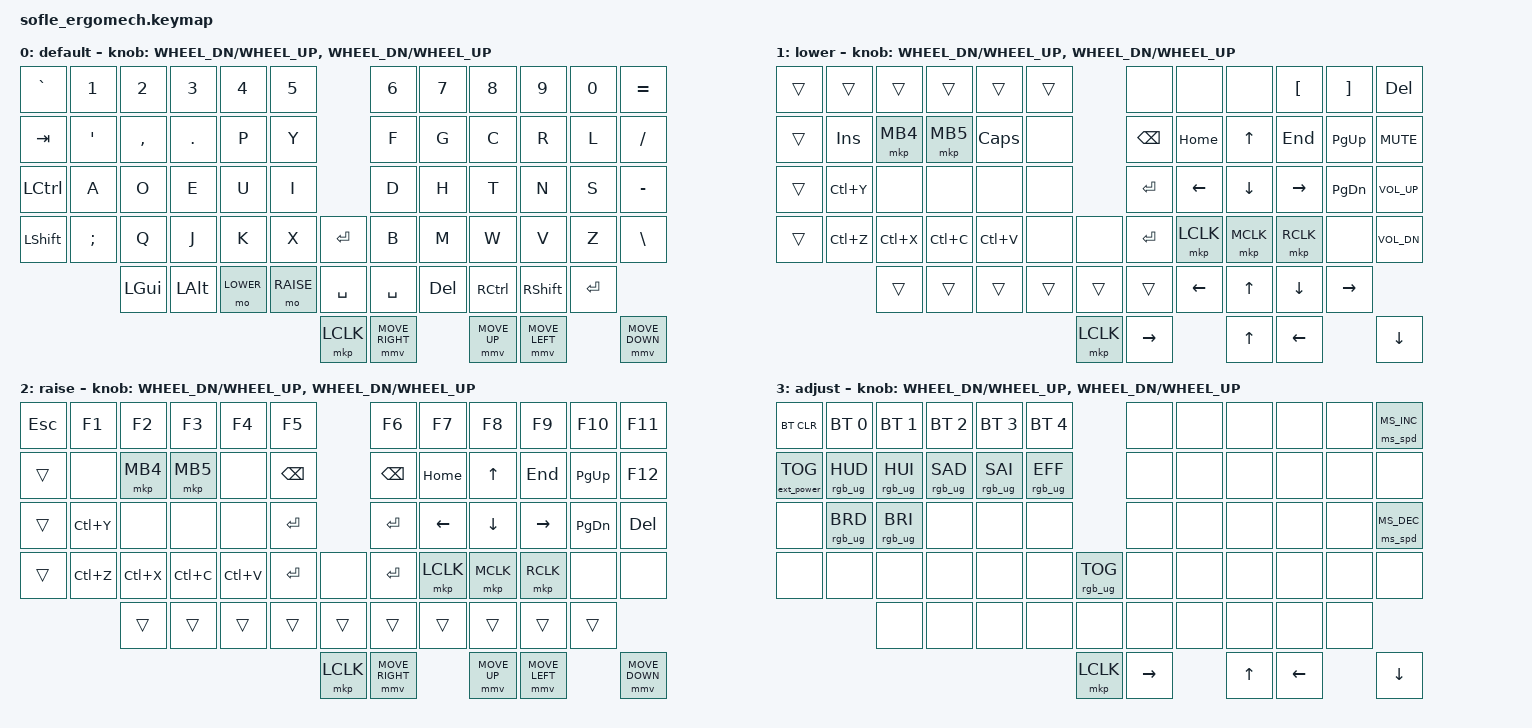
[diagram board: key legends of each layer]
/*
 * Copyright (c) 2020 The ZMK Contributors
 *
 * SPDX-License-Identifier: MIT
 */

#include <behaviors.dtsi>
#include <dt-bindings/zmk/keys.h>
#include <dt-bindings/zmk/bt.h>
#include <dt-bindings/zmk/rgb.h>
#include <dt-bindings/zmk/ext_power.h>
/* Twice the previous 900 ceiling. &mmv ramps up to this speed.
 * Adjust-layer speed keys scale the counts that actually go out. */
#define ZMK_POINTING_DEFAULT_MOVE_VAL 1800

#include <dt-bindings/zmk/pointing.h>

#define BASE 0
#define LOWER 1
#define RAISE 2
#define ADJUST 3

/* &msc ticks every 16ms. 80 * 16 / 1000 truncates to one wheel notch,
 * and the 20ms encoder tap ends before the next tick. */
#define WHEEL_UP MOVE_Y(80)
#define WHEEL_DN MOVE_Y(-80)

/* One step down or up the cursor-speed ladder. */
#define MS_DEC 0
#define MS_INC 1

/* Hold the hat to accelerate. Speed reaches 1800 after 600ms,
 * so the slope matches the previous 900-over-300ms ramp. */
&mmv {
    time-to-max-speed-ms = <600>;
    acceleration-exponent = <1>;
};

&mmv_input_listener {
    input-processors = <&ms_scale>;
};

/ {
    behaviors {
        scroll_wheel: scroll_wheel {
            compatible = "zmk,behavior-sensor-rotate-var";
            #sensor-binding-cells = <2>;
            bindings = <&msc>, <&msc>;
            tap-ms = <20>;
        };

        ms_spd: ms_spd {
            compatible = "zmk,behavior-mouse-speed";
            #binding-cells = <1>;
        };
    };

    ms_scale: ms_scale {
        compatible = "zmk,input-processor-mouse-speed";
        #input-processor-cells = <0>;
        track-remainders;
    };

   // Activate ADJUST layer by pressing raise and lower
    conditional_layers {
        compatible = "zmk,conditional-layers";
        adjust_layer {
            if-layers = <LOWER RAISE>;
            then-layer = <ADJUST>;
        };
    };

    keymap {
        compatible = "zmk,keymap";

        default_layer {
            label = "default";
// ---------------------------------------------------------------------------------------------------------------------------------------
// |   `   |   1   |    2    |   3    |   4     |   5      |                     |   6     |    7    |   8     |  9     |   0    |   =   |
// |  TAB  |   '   |    ,    |   .    |   P     |   Y      |                     |   F     |    G    |   C     |  R     |   L    |   /   |
// |  CTRL |   A   |    O    |   E    |   U     |   I      |                     |   D     |    H    |   T     |  N     |   S    |   -   |
// | SHIFT |   ;   |    Q    |   J    |   K     |   X      |  ENTER  |  |        |   B     |    M    |   W     |  V     |   Z    |   \   |
//                 |   GUI   |  ALT   |  LOWER  |  RAISE   |  SPACE  |  |  SPACE |  DEL    |  CTRL   |  SHIFT  | ENTER  |
//                                                                  HAT:|  LCLK  | MOVE_R  | MOVE_U  | MOVE_L  | MOVE_D |
            bindings = <
&kp GRAVE &kp N1   &kp N2    &kp N3   &kp N4    &kp N5                           &kp N6    &kp N7    &kp N8    &kp N9   &kp N0   &kp EQUAL
&kp TAB   &kp APOS &kp COMMA &kp DOT  &kp P     &kp Y                            &kp F     &kp G     &kp C     &kp R    &kp L    &kp FSLH
&kp LCTRL &kp A    &kp O     &kp E    &kp U     &kp I                            &kp D     &kp H     &kp T     &kp N    &kp S    &kp MINUS
&kp LSHFT &kp SEMI &kp Q     &kp J    &kp K     &kp X      &kp ENTER             &kp B     &kp M     &kp W     &kp V    &kp Z    &kp BSLH
                   &kp LGUI  &kp LALT &mo LOWER &mo RAISE  &kp SPACE  &kp SPACE  &kp DEL   &kp RCTRL &kp RSHFT &kp ENTER
                                                                      &mkp LCLK  &mmv MOVE_RIGHT &mmv MOVE_UP &mmv MOVE_LEFT &mmv MOVE_DOWN
            >;

            sensor-bindings = <&scroll_wheel WHEEL_DN WHEEL_UP &scroll_wheel WHEEL_DN WHEEL_UP>;
        };

        lower_layer {
            label = "lower";
// ------------------------------------------------------------------------------------------------------------------------------------------------------
// |       |             |            |             |              |            |                 |         |         |         |  LBKT   |  RBKT   |  DEL   |
// |       |   INS       |   BACK     |   FWD       |   CAPS       |            |                 |  BSPC   |  HOME   |  UP     |   END   |  PG_UP  | C_MUTE |
// |       |   REDO      |            |             |              |            |                 |  RET    |  LEFT   |  DOWN   |  RIGHT  |  PG_DN  |C_VOL_UP|
// |       |   UNDO      |   CUT      |   COPY      |   PASTE      |            |      |  |       |  ENTER  |  LCLK   |  MCLK   |  RCLK   |         |C_VOL_DN|
//                       |            |             |              |            | SPACE|  | SPACE |  LEFT   |   UP    |  DOWN   |  RIGHT |
//                                                                                    HAT:| LCLK  | RIGHT  |   UP   |  LEFT  |  DOWN  |
            bindings = <
&trans     &trans        &trans       &trans        &trans         &trans                         &none     &none     &none     &kp LBKT  &kp RBKT  &kp DEL
&trans     &kp INS       &mkp MB4     &mkp MB5      &kp CAPS       &none                          &kp BSPC  &kp HOME  &kp UP    &kp END   &kp PG_UP &kp C_MUTE
&trans     &kp LC(Y)     &none        &none         &none          &none                          &kp RET   &kp LEFT  &kp DOWN  &kp RIGHT &kp PG_DN &kp C_VOL_UP
&trans     &kp LC(Z)     &kp LC(X)    &kp LC(C)     &kp LC(V)      &none        &none             &kp ENTER &mkp LCLK &mkp MCLK &mkp RCLK &none     &kp C_VOL_DN
                         &trans       &trans        &trans         &trans       &trans  &trans    &kp LEFT  &kp UP    &kp DOWN  &kp RIGHT
                                                                                        &mkp LCLK &kp RIGHT &kp UP &kp LEFT &kp DOWN
            >;

            sensor-bindings = <&scroll_wheel WHEEL_DN WHEEL_UP &scroll_wheel WHEEL_DN WHEEL_UP>;
        };

        raise_layer {
            label = "raise";
// TODO: Some binds are waiting for shifted keycode support.
// --------------------------------------------------------------------------------------------------------------------------------------------
// |  ESC  |   F1    |   F2    |    F3    |   F4      |   F5     |                  |   F6    |  F7     |  F8     |   F9    |   F10   |  F11  |
// |       |         |  BACK   |   FWD    |           |  BSPC    |                  |  BSPC   |  HOME   |  UP     |   END   |  PG_UP  |  F12  |
// |       |  REDO   |         |          |           |  RET     |                  |  RET    |  LEFT   |  DOWN   |  RIGHT  |  PG_DN  |  DEL  |
// |       |  UNDO   |   CUT   |   COPY   |   PASTE   |  ENTER   |       |  |       |  ENTER  |  LCLK   |  MCLK   |  RCLK   |         |       |
//                   |         |          |           |          | SPACE |  | SPACE |         |         |         |         |
//                                                                      HAT:| LCLK  | MOVE_R  | MOVE_U  | MOVE_L  | MOVE_D |
            bindings = < 
&kp ESC   &kp F1     &kp F2    &kp F3     &kp F4      &kp F5                        &kp F6    &kp F7    &kp F8    &kp F9    &kp F10   &kp F11
&trans    &none      &mkp MB4  &mkp MB5   &none       &kp BSPC                      &kp BSPC  &kp HOME  &kp UP    &kp END   &kp PG_UP &kp F12
&trans    &kp LC(Y)  &none     &none      &none       &kp RET                       &kp RET   &kp LEFT  &kp DOWN  &kp RIGHT &kp PG_DN &kp DEL
&trans    &kp LC(Z)  &kp LC(X) &kp LC(C)  &kp LC(V)   &kp ENTER  &none              &kp ENTER &mkp LCLK &mkp MCLK &mkp RCLK &none     &none
                     &trans    &trans     &trans      &trans     &trans   &trans    &trans    &trans    &trans    &trans
                                                                          &mkp LCLK &mmv MOVE_RIGHT &mmv MOVE_UP &mmv MOVE_LEFT &mmv MOVE_DOWN
            >;

            sensor-bindings = <&scroll_wheel WHEEL_DN WHEEL_UP &scroll_wheel WHEEL_DN WHEEL_UP>;
        };

        adjust_layer {
            label = "adjust";
// --------------------------------------------------------------------------------------------------------------------------------
// | BTCLR  |  BT1    |  BT2    |   BT3   |   BT4   |   BT5   |                      |      |      |       |      |       |  SPD+ |
// | EXTPWR | RGB_HUD | RGB_HUI | RGB_SAD | RGB_SAI | RGB_EFF |                      |      |      |       |      |       |       |
// |        | RGB_BRD | RGB_BRI |         |         |         |                      |      |      |       |      |       |  SPD- |
// |        |         |         |         |         |         | RGB_TOG | |          |      |      |       |      |       |       |
//                    |         |         |         |         |         | |          |      |      |       |      |
//                                                                    HAT:| LCLK     | DOWN |  UP  | RIGHT | LEFT |
            bindings = <
&bt BT_CLR        &bt BT_SEL 0    &bt BT_SEL 1    &bt BT_SEL 2    &bt BT_SEL 3    &bt BT_SEL 4                                &none     &none     &none     &none     &none &ms_spd MS_INC
&ext_power EP_TOG &rgb_ug RGB_HUD &rgb_ug RGB_HUI &rgb_ug RGB_SAD &rgb_ug RGB_SAI &rgb_ug RGB_EFF                             &none     &none     &none     &none     &none &none
&none             &rgb_ug RGB_BRD &rgb_ug RGB_BRI &none           &none           &none                                       &none     &none     &none     &none     &none &ms_spd MS_DEC
&none             &none           &none           &none           &none           &none            &rgb_ug RGB_TOG            &none     &none     &none     &none     &none &none
                                  &none           &none           &none           &none            &none           &none      &none     &none     &none     &none
                                                                                                                   &mkp LCLK  &kp RIGHT &kp UP    &kp LEFT  &kp DOWN
            >;

            sensor-bindings = <&scroll_wheel WHEEL_DN WHEEL_UP &scroll_wheel WHEEL_DN WHEEL_UP>;
        };

    };
};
